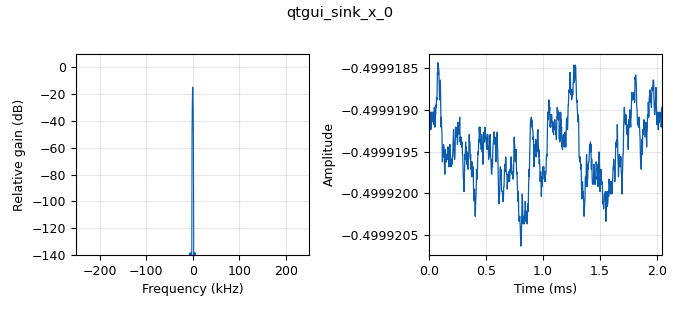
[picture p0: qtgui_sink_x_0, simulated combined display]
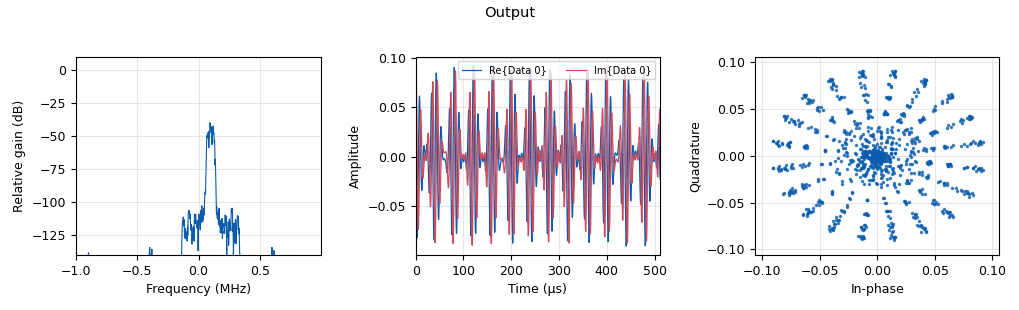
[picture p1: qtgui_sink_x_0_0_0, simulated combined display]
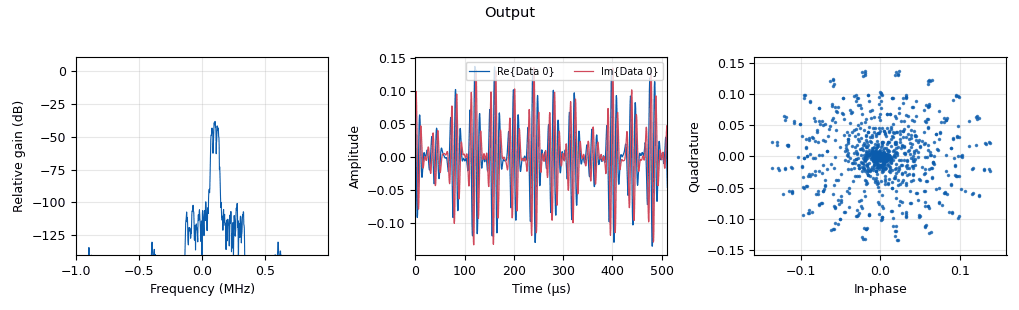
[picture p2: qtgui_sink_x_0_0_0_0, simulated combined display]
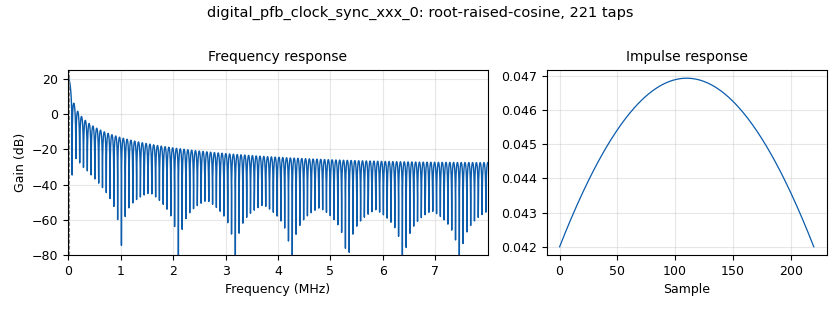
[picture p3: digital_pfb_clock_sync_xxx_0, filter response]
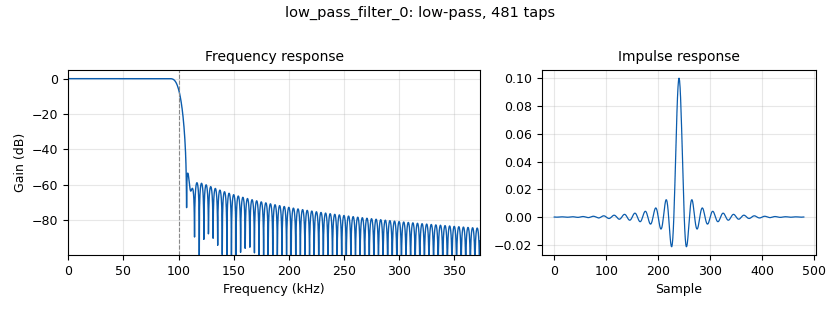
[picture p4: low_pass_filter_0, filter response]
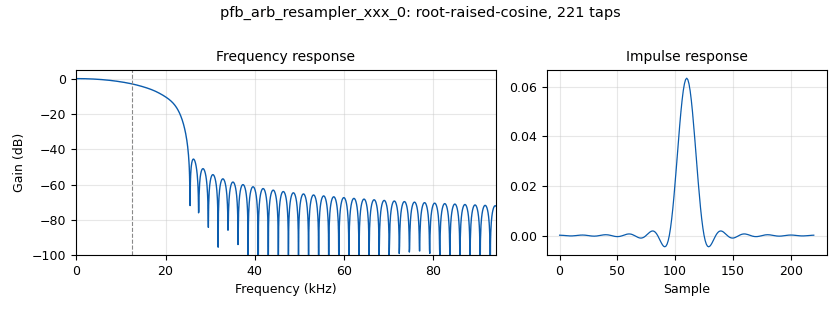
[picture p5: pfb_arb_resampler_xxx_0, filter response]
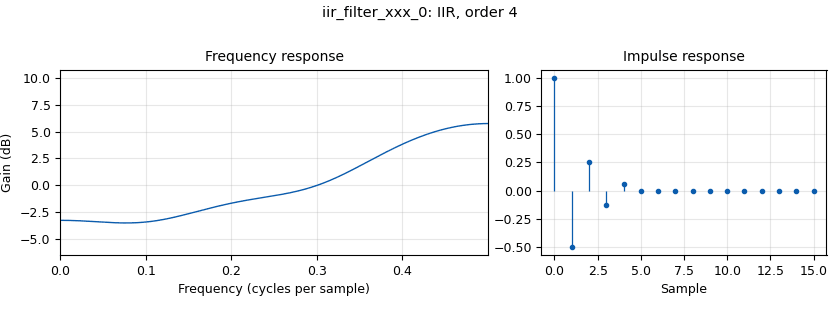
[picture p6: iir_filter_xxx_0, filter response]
options:
  parameters:
    author: abhi
    generate_options: qt_gui
    id: Lab9_3
    output_language: python
    title: Not titled yet
  states: {}

blocks:
- name: a1
  id: variable_qtgui_range
  parameters:
    start: '-1'
    step: '0.05'
    stop: '1'
    value: '-0.5'
  states: {}
- name: a2
  id: variable_qtgui_range
  parameters:
    start: '-0.5'
    step: '0.01'
    stop: '0.5'
    value: '0.25'
  states: {}
- name: a3
  id: variable_qtgui_range
  parameters:
    start: '-0.25'
    step: '0.005'
    stop: '0.25'
    value: '-0.125'
  states: {}
- name: a4
  id: variable_qtgui_range
  parameters:
    start: '-0.125'
    step: '0.0025'
    stop: '0.125'
    value: '0.0625'
  states: {}
- name: alpha
  id: variable_qtgui_range
  parameters:
    start: '0.01'
    step: '0.01'
    stop: '1'
    value: '0.99'
  states: {}
- name: const_points
  id: variable
  parameters:
    value: '4'
  states: {}
- name: gain
  id: variable
  parameters:
    value: '10'
  states: {}
- name: nfilts
  id: variable
  parameters:
    value: '32'
  states: {}
- name: noise
  id: variable_qtgui_range
  parameters:
    start: '0'
    step: '0.01'
    stop: '1'
    value: '0'
  states: {}
- name: ntaps
  id: variable
  parameters:
    value: 11*sps
  states: {}
- name: rx_taps
  id: variable
  parameters:
    value: firdes.root_raised_cosine(gain,nfilts*sps*symb_rate,symb_rate,alpha,ntaps)
  states: {}
- name: samp_rate
  id: variable
  parameters:
    value: symb_rate*sps
  states: {}
- name: sps
  id: variable
  parameters:
    value: '20'
  states: {}
- name: symb_rate
  id: variable
  parameters:
    value: '25000'
  states: {}
- name: tx_taps
  id: variable
  parameters:
    value: firdes.root_raised_cosine(1,sps*symb_rate,symb_rate,alpha,ntaps)
  states: {}
- name: analog_noise_source_x_0
  id: analog_noise_source_x
  parameters:
    amp: noise
    noise_type: analog.GR_GAUSSIAN
    seed: '0'
    type: complex
  states: {}
- name: analog_random_source_x_0
  id: analog_random_source_x
  parameters:
    max: const_points
    min: '0'
    num_samps: '1000'
    repeat: 'True'
    type: int
  states: {}
- name: analog_sig_source_x_0
  id: analog_sig_source_x
  parameters:
    amp: '1'
    freq: '100000'
    offset: '0'
    phase: '0'
    samp_rate: '2000000'
    type: complex
    waveform: analog.GR_COS_WAVE
  states: {}
- name: analog_sig_source_x_0_0
  id: analog_sig_source_x
  parameters:
    amp: '1'
    freq: '100000'
    offset: '0'
    phase: '0'
    samp_rate: '2000000'
    type: float
    waveform: analog.GR_COS_WAVE
  states: {}
- name: analog_sig_source_x_0_0_0
  id: analog_sig_source_x
  parameters:
    amp: '-1'
    freq: '100000'
    offset: '0'
    phase: '0'
    samp_rate: '2000000'
    type: float
    waveform: analog.GR_SIN_WAVE
  states: {}
- name: blocks_add_const_vxx_0
  id: blocks_add_const_vxx
  parameters:
    const: '-1'
    type: float
  states: {}
- name: blocks_add_xx_0
  id: blocks_add_xx
  parameters:
    type: complex
  states: {}
- name: blocks_add_xx_1
  id: blocks_add_xx
  parameters:
    type: complex
  states: {}
- name: blocks_complex_to_mag_squared_0
  id: blocks_complex_to_mag_squared
  parameters: {}
  states: {}
- name: blocks_complex_to_real_0
  id: blocks_complex_to_real
  parameters: {}
  states: {}
- name: blocks_delay_0
  id: blocks_delay
  parameters:
    delay: sps*4
    type: complex
  states: {}
- name: blocks_float_to_complex_0
  id: blocks_float_to_complex
  parameters: {}
  states: {}
- name: blocks_multiply_const_vxx_0
  id: blocks_multiply_const_vxx
  parameters:
    const: '0.5'
    type: complex
  states: {}
- name: blocks_multiply_xx_0
  id: blocks_multiply_xx
  parameters:
    type: complex
  states: {}
- name: blocks_multiply_xx_0_0
  id: blocks_multiply_xx
  parameters:
    type: float
  states: {}
- name: blocks_multiply_xx_0_0_0
  id: blocks_multiply_xx
  parameters:
    type: float
  states: {}
- name: digital_chunks_to_symbols_xx_0
  id: digital_chunks_to_symbols_xx
  parameters:
    dimension: '1'
    in_type: int
    out_type: complex
    symbol_table: ((1-1j), (1+1j), (-1+1j), (-1-1j))
  states: {}
- name: digital_pfb_clock_sync_xxx_0
  id: digital_pfb_clock_sync_xxx
  parameters:
    filter_size: nfilts
    init_phase: '16'
    loop_bw: 2*3.1415/100
    max_dev: '1.5'
    osps: '1'
    sps: sps
    taps: rx_taps
    type: ccf
  states: {}
- name: iir_filter_xxx_0
  id: iir_filter_xxx
  parameters:
    fbtaps: '[1]'
    fftaps: '[1, a1, a2, a3, a4]'
    type: ccd
  states: {}
- name: iir_filter_xxx_1
  id: iir_filter_xxx
  parameters:
    fbtaps: '[1,0.98]'
    fftaps: '[0.01]'
    type: ffd
  states: {}
- name: low_pass_filter_0
  id: low_pass_filter
  parameters:
    cutoff_freq: '100000'
    decim: '1'
    gain: '1'
    samp_rate: '2000000'
    type: fir_filter_fff
    width: '10000'
    win: window.WIN_HAMMING
  states: {}
- name: low_pass_filter_0_0
  id: low_pass_filter
  parameters:
    cutoff_freq: '100000'
    decim: '1'
    gain: '1'
    samp_rate: '2000000'
    type: fir_filter_fff
    width: '10000'
    win: window.WIN_HAMMING
  states: {}
- name: pfb_arb_resampler_xxx_0
  id: pfb_arb_resampler_xxx
  parameters:
    atten: '100'
    nfilts: '32'
    rrate: sps
    taps: tx_taps
    type: ccf
  states: {}
- name: qtgui_sink_x_0
  id: qtgui_sink_x
  parameters:
    bw: samp_rate
    fc: '0'
    fftsize: '1024'
    gui_hint: tab@2
    type: float
  states: {}
- name: qtgui_sink_x_0_0_0
  id: qtgui_sink_x
  parameters:
    bw: '2000000'
    fc: '0'
    fftsize: '1024'
    gui_hint: tab@0
    name: '"Output"'
    type: complex
  states: {}
- name: qtgui_sink_x_0_0_0_0
  id: qtgui_sink_x
  parameters:
    bw: '2000000'
    fc: '0'
    fftsize: '1024'
    gui_hint: tab@1
    name: '"Output"'
    type: complex
  states: {}
- name: qtgui_sink_x_0_0_0_0_0
  id: qtgui_sink_x
  parameters:
    bw: '320000'
    fc: '0'
    fftsize: '1024'
    gui_hint: tab@2
    name: '"Output"'
    type: complex
  states: {state: disabled}
- name: rational_resampler_xxx_0
  id: rational_resampler_xxx
  parameters:
    decim: samp_rate
    interp: '2000000'
    type: ccc
  states: {}
- name: rational_resampler_xxx_0_0
  id: rational_resampler_xxx
  parameters:
    decim: '2000000'
    interp: samp_rate
    type: ccf
  states: {}
- name: tab
  id: qtgui_tab_widget
  parameters:
    label0: Modulated
    label1: Multi-path
    label2: Demodulated
    num_tabs: '3'
  states: {}
- name: virtual_sink_0
  id: virtual_sink
  parameters:
    stream_id: '1'
  states: {}
- name: virtual_sink_1
  id: virtual_sink
  parameters:
    stream_id: '2'
  states: {}
- name: virtual_source_0
  id: virtual_source
  parameters:
    stream_id: '1'
  states: {}
- name: virtual_source_1
  id: virtual_source
  parameters:
    stream_id: '1'
  states: {}
- name: virtual_source_2
  id: virtual_source
  parameters:
    stream_id: '2'
  states: {}
- name: virtual_source_2_0
  id: virtual_source
  parameters:
    stream_id: '2'
  states: {}

connections:
- [analog_noise_source_x_0, '0', blocks_add_xx_1, '1']
- [analog_random_source_x_0, '0', digital_chunks_to_symbols_xx_0, '0']
- [analog_sig_source_x_0, '0', blocks_multiply_xx_0, '1']
- [analog_sig_source_x_0_0, '0', blocks_multiply_xx_0_0, '1']
- [analog_sig_source_x_0_0_0, '0', blocks_multiply_xx_0_0_0, '1']
- [blocks_add_const_vxx_0, '0', iir_filter_xxx_1, '0']
- [blocks_add_xx_0, '0', blocks_complex_to_real_0, '0']
- [blocks_add_xx_0, '0', qtgui_sink_x_0_0_0_0, '0']
- [blocks_add_xx_1, '0', qtgui_sink_x_0_0_0, '0']
- [blocks_add_xx_1, '0', virtual_sink_0, '0']
- [blocks_complex_to_mag_squared_0, '0', blocks_add_const_vxx_0, '0']
- [blocks_complex_to_real_0, '0', virtual_sink_1, '0']
- [blocks_delay_0, '0', blocks_multiply_const_vxx_0, '0']
- [blocks_float_to_complex_0, '0', rational_resampler_xxx_0_0, '0']
- [blocks_multiply_const_vxx_0, '0', blocks_add_xx_0, '1']
- [blocks_multiply_xx_0, '0', blocks_add_xx_1, '0']
- [blocks_multiply_xx_0_0, '0', low_pass_filter_0, '0']
- [blocks_multiply_xx_0_0_0, '0', low_pass_filter_0_0, '0']
- [digital_chunks_to_symbols_xx_0, '0', pfb_arb_resampler_xxx_0, '0']
- [digital_pfb_clock_sync_xxx_0, '0', iir_filter_xxx_0, '0']
- [iir_filter_xxx_0, '0', blocks_complex_to_mag_squared_0, '0']
- [iir_filter_xxx_0, '0', qtgui_sink_x_0_0_0_0_0, '0']
- [iir_filter_xxx_1, '0', qtgui_sink_x_0, '0']
- [low_pass_filter_0, '0', blocks_float_to_complex_0, '0']
- [low_pass_filter_0_0, '0', blocks_float_to_complex_0, '1']
- [pfb_arb_resampler_xxx_0, '0', rational_resampler_xxx_0, '0']
- [rational_resampler_xxx_0, '0', blocks_multiply_xx_0, '0']
- [rational_resampler_xxx_0_0, '0', digital_pfb_clock_sync_xxx_0, '0']
- [virtual_source_0, '0', blocks_add_xx_0, '0']
- [virtual_source_1, '0', blocks_delay_0, '0']
- [virtual_source_2, '0', blocks_multiply_xx_0_0, '0']
- [virtual_source_2_0, '0', blocks_multiply_xx_0_0_0, '0']

metadata:
  file_format: 1
  grc_version: 3.9.8.0-rc1
